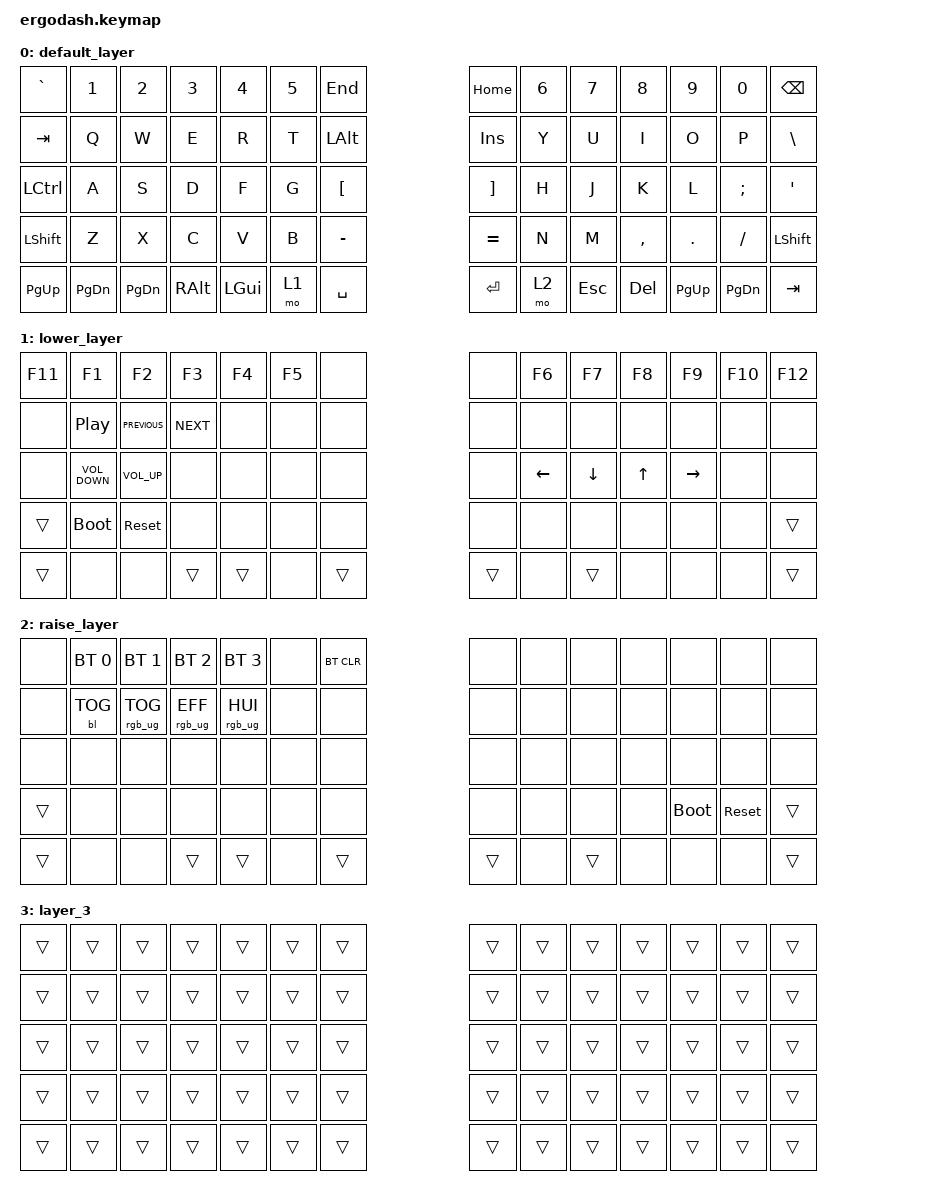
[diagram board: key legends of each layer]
/*
 * Copyright (c) 2020 The ZMK Contributors
 *
 * SPDX-License-Identifier: MIT
 */

#include <behaviors.dtsi>
#include <dt-bindings/zmk/backlight.h>
#include <dt-bindings/zmk/bt.h>
#include <dt-bindings/zmk/keys.h>
#include <dt-bindings/zmk/rgb.h>

#define DEFAULT 0
#define LOWER   1
#define RAISE   2

/ {
    keymap {
        compatible = "zmk,keymap";

        default_layer {
            /* QWERTY
 * .----------------------------------------------------------------------------------------------------------------------.
 * |  `   |   1  |   2  |   3  |   4  |   5  |  [   |                    |  ]   |   6  |   7  |   8  |   9  |   0  | PScr |
 * |------+------+------+------+------+------+------+--------------------+------+------+------+------+------+------+------|
 * | ESC  |   Q  |   W  |   E  |   R  |   T  |  -   |                    |  =   |   Y  |   U  |   I  |   O  |   P  |  \   |
 * |------+------+------+------+------+------+------+--------------------+------+------+------+------+------+------+------|
 * | Tab  |   A  |   S  |   D  |   F  |   G  | Del  |                    | Bksp |   H  |   J  |   K  |   L  |   ;  |  '   |
 * |------+------+------+------+------+------+---------------------------+------+------+------+------+------+------+------|
 * | Shift|   Z  |   X  |   C  |   V  |   B  | End  |                    | Home |   N  |   M  |   ,  |   .  |   /  | Shift|
 * |-------------+------+------+------+------+------+------+------+------+------+------+------+------+------+-------------|
 * | Ctrl |      | PGDN | Win  |||||||| Alt  | Space| Lower|||||||| Raise| Enter| RAlt ||||||||      | PGUP | Ins  | RCtrl|
 * .----------------------------------------------------------------------------------------------------------------------.
 */

            bindings = <
&kp GRAVE         &kp N1         &kp N2     &kp N3         &kp N4        &kp N5  &kp END                                 &kp HOME           &kp N6  &kp N7      &kp N8      &kp N9     &kp N0         &kp BACKSPACE
&kp TAB           &kp Q          &kp W      &kp E          &kp R         &kp T   &kp LEFT_ALT                            &kp INSERT         &kp Y   &kp U       &kp I       &kp O      &kp P          &kp BSLH
&kp LEFT_CONTROL  &kp A          &kp S      &kp D          &kp F         &kp G   &kp LEFT_BRACKET                        &kp RIGHT_BRACKET  &kp H   &kp J       &kp K       &kp L      &kp SEMI       &kp SQT
&kp LSHFT         &kp Z          &kp X      &kp C          &kp V         &kp B                     &kp MINUS  &kp EQUAL                     &kp N   &kp M       &kp COMMA   &kp DOT    &kp SLASH      &kp LEFT_SHIFT
&kp PAGE_UP       &kp PAGE_DOWN  &kp PG_DN  &kp RIGHT_ALT  &kp LEFT_GUI          &mo 1             &kp SPACE  &kp ENTER  &mo 2                      &kp ESCAPE  &kp DELETE  &kp PG_UP  &kp PAGE_DOWN  &kp TAB
            >;
        };

        lower_layer {
            /* .----------------------------------------------------------------------------------------------------------------------.
 * |  F11 |  F1  |  F2  |  F3  |  F4  |  F5  |      |                    |      |  F6  |  F7  |  F8  |  F9  |  F10 |  F12 |
 * |------+------+------+------+------+------+------+--------------------+------+------+------+------+------+------+------|
 * |      |      |      |      |      |      |      |                    |      |      |      |      |      |      |      |
 * |------+------+------+------+------+------+------+--------------------+------+------+------+------+------+------+------|
 * |      |      |      |      |      |      |      |                    |      |      |      |      |      |      |      |
 * |------+------+------+------+------+------+---------------------------+------+------+------+------+------+------+------|
 * | Shift| Boot | Reset|      |      |      |      |                    |      |      |      |      |      |      | Shift|
 * |-------------+------+------+------+------+------+------+------+------+------+------+------+------+------+-------------|
 * | Ctlr |      |      |  Win |||||||| Alt  |      | Lower|||||||| Raise|      | RAlt ||||||||      |      |      | RCtrl|
 * .----------------------------------------------------------------------------------------------------------------------.
 */ /* FIXME boot and reset are not yet locale aware */
            bindings = <
&kp F11  &kp F1             &kp F2           &kp F3      &kp F4  &kp F5  &none                  &none  &kp F6          &kp F7    &kp F8        &kp F9     &kp F10  &kp F12
&none    &kp C_PLAY_PAUSE   &kp C_PREVIOUS   &kp C_NEXT  &none   &none   &none                  &none  &none           &none     &none         &none      &none    &none
&none    &kp K_VOLUME_DOWN  &kp C_VOLUME_UP  &none       &none   &none   &none                  &none  &kp LEFT_ARROW  &kp DOWN  &kp UP_ARROW  &kp RIGHT  &none    &none
&trans   &bootloader        &sys_reset       &none       &none   &none          &none   &none          &none           &none     &none         &none      &none    &trans
&trans   &none              &none            &trans      &trans          &none  &trans  &trans  &none                  &trans    &none         &none      &none    &trans
            >;
        };

        raise_layer {
            /* .----------------------------------------------------------------------------------------------------------------------.
 * |      | BT 0 | BT 1 | BT 2 | BT 3 |      | BTCL |                    |      |      |      |      |      |      |      |
 * |------+------+------+------+------+------+------+--------------------+------+------+------+------+------+------+------|
 * |      |      |      |      |      |      |      |                    |      |      |      |      |      |      |      |
 * |------+------+------+------+------+------+------+--------------------+------+------+------+------+------+------+------|
 * |      |      |      |      |      |      |      |                    |      |      |      |      |      |      |      |
 * |------+------+------+------+------+------+---------------------------+------+------+------+------+------+------+------|
 * | Shift|      |      |      |      |      |      |                    |      |      |      |      | Boot | Reset| Shift|
 * |-------------+------+------+------+------+------+------+------+------+------+------+------+------+------+-------------|
 * | Ctlr |      |      |  Win |||||||| Alt  |      | Lower|||||||| Raise|      | RAlt ||||||||      |      |      | RCtrl|
 * .----------------------------------------------------------------------------------------------------------------------.
 */ /* FIXME boot and reset are not yet locale aware */
            bindings = <
&none   &bt BT_SEL 0  &bt BT_SEL 1     &bt BT_SEL 2     &bt BT_SEL 3     &none  &bt BT_CLR                  &none  &none  &none   &none  &none        &none       &none
&none   &bl BL_TOG    &rgb_ug RGB_TOG  &rgb_ug RGB_EFF  &rgb_ug RGB_HUI  &none  &none                       &none  &none  &none   &none  &none        &none       &none
&none   &none         &none            &none            &none            &none  &none                       &none  &none  &none   &none  &none        &none       &none
&trans  &none         &none            &none            &none            &none              &none   &none          &none  &none   &none  &bootloader  &sys_reset  &trans
&trans  &none         &none            &trans           &trans                  &none       &trans  &trans  &none         &trans  &none  &none        &none       &trans
            >;
        };

        layer_3 {
            bindings = <
&trans  &trans  &trans  &trans  &trans  &trans  &trans                  &trans  &trans  &trans  &trans  &trans  &trans  &trans
&trans  &trans  &trans  &trans  &trans  &trans  &trans                  &trans  &trans  &trans  &trans  &trans  &trans  &trans
&trans  &trans  &trans  &trans  &trans  &trans  &trans                  &trans  &trans  &trans  &trans  &trans  &trans  &trans
&trans  &trans  &trans  &trans  &trans  &trans          &trans  &trans          &trans  &trans  &trans  &trans  &trans  &trans
&trans  &trans  &trans  &trans  &trans          &trans  &trans  &trans  &trans          &trans  &trans  &trans  &trans  &trans
            >;
        };
    };
};
